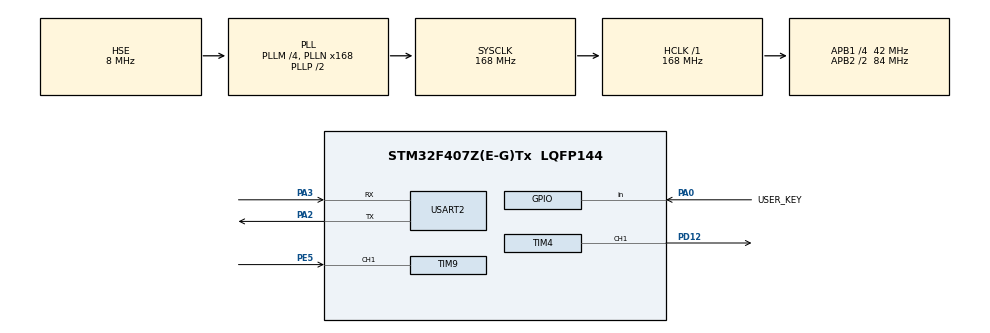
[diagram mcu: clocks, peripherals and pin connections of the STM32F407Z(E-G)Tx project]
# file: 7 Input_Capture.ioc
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Mcu.Family=STM32F4
Mcu.Name=STM32F407Z(E-G)Tx
Mcu.Package=LQFP144
NVIC.PriorityGroup=NVIC_PRIORITYGROUP_4
NVIC.TIM1_BRK_TIM9_IRQn=true\:1\:0\:true\:false\:true\:true\:true\:true
PA0-WKUP.GPIO_Label=USER_KEY
PA0-WKUP.Signal=GPIO_Input
PA13.Mode=Serial_Wire
PA13.Signal=SYS_JTMS-SWDIO
PA14.Mode=Serial_Wire
PA14.Signal=SYS_JTCK-SWCLK
PA2.Mode=Asynchronous
PA2.Signal=USART2_TX
PA3.Mode=Asynchronous
PA3.Signal=USART2_RX
PC14-OSC32_IN.Mode=LSE-External-Oscillator
PC14-OSC32_IN.Signal=RCC_OSC32_IN
PC15-OSC32_OUT.Mode=LSE-External-Oscillator
PC15-OSC32_OUT.Signal=RCC_OSC32_OUT
PD12.Signal=S_TIM4_CH1
PE5.Signal=S_TIM9_CH1
PH0-OSC_IN.Mode=HSE-External-Oscillator
PH0-OSC_IN.Signal=RCC_OSC_IN
PH1-OSC_OUT.Mode=HSE-External-Oscillator
PH1-OSC_OUT.Signal=RCC_OSC_OUT
ProjectManager.HeapSize=0x200
ProjectManager.StackSize=0x400
ProjectManager.TargetToolchain=MDK-ARM V5.32
RCC.48MHZClocksFreq_Value=84000000
RCC.AHBFreq_Value=168000000
RCC.APB1CLKDivider=RCC_HCLK_DIV4
RCC.APB1Freq_Value=42000000
RCC.APB1TimFreq_Value=84000000
RCC.APB2CLKDivider=RCC_HCLK_DIV2
RCC.APB2Freq_Value=84000000
RCC.APB2TimFreq_Value=168000000
RCC.CortexFreq_Value=168000000
RCC.HCLKFreq_Value=168000000
RCC.HSE_VALUE=8000000
RCC.HSI_VALUE=16000000
RCC.PLLM=4
RCC.PLLN=168
RCC.PLLSourceVirtual=RCC_PLLSOURCE_HSE
RCC.SYSCLKFreq_VALUE=168000000
RCC.SYSCLKSource=RCC_SYSCLKSOURCE_PLLCLK
RCC.VCOOutputFreq_Value=336000000
SH.S_TIM4_CH1.0=TIM4_CH1,PWM Generation1 CH1
SH.S_TIM9_CH1.0=TIM9_CH1,PWM_Input_1
TIM4.Channel-PWM\ Generation1\ CH1=TIM_CHANNEL_1
TIM4.Period=199
TIM4.Prescaler=8399
TIM4.Pulse-PWM\ Generation1\ CH1=50
TIM9.Period=49999
TIM9.Prescaler=16799
USART2.VirtualMode=VM_ASYNC
board=custom

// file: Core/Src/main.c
/* USER CODE BEGIN Header */
/**
  ******************************************************************************
  * @file           : main.c
  * @brief          : Main program body
  ******************************************************************************
  * @attention
  *
  * Copyright (c) 2024 STMicroelectronics.
  * All rights reserved.
  *
  * This software is licensed under terms that can be found in the LICENSE file
  * in the root directory of this software component.
  * If no LICENSE file comes with this software, it is provided AS-IS.
  *
  ******************************************************************************
  */
/* USER CODE END Header */
#include "main.h"
#include "tim.h"
#include "usart.h"
#include "gpio.h"

/* USER CODE BEGIN Includes */
#include "stdio.h"

#ifdef __GNUC__
#define PUTCHAR_PROTOTYPE int __io_putchar(int ch)
#else
#define PUTCHAR_PROTOTYPE int fputc(int ch, FILE *f)
#endif
PUTCHAR_PROTOTYPE
{
    HAL_UART_Transmit(&huart2, (uint8_t *)&ch, 1, HAL_MAX_DELAY);
    return ch;
}
/* USER CODE END Includes */

/* USER CODE BEGIN PV */
/*主函数外变量定义*/
uint16_t pulseWidth=0;
uint8_t dirInc=1;
/* USER CODE END PV */

void SystemClock_Config(void);

int main(void)
{

  /* MCU Configuration--------------------------------------------------------*/

  /* Reset of all peripherals, Initializes the Flash interface and the Systick. */
  HAL_Init();

  /* Configure the system clock */
  SystemClock_Config();

  /* Initialize all configured peripherals */
  MX_GPIO_Init();
  MX_TIM4_Init();
  MX_TIM9_Init();
  MX_USART2_UART_Init();
  /* USER CODE BEGIN 2 */
	/*主循环外启动代码*/
	HAL_TIM_Base_Start(&htim4);
	HAL_TIM_PWM_Start(&htim4, TIM_CHANNEL_1);
	HAL_TIM_Base_Start_IT(&htim9);
	HAL_TIM_IC_Start_IT(&htim9, TIM_CHANNEL_1);
	HAL_TIM_IC_Start_IT(&htim9, TIM_CHANNEL_2);
  /* USER CODE END 2 */

  /* Infinite loop */
  while (1)
  {

    /* USER CODE BEGIN 3 */
		/*主循环内代码*/
		if(HAL_GPIO_ReadPin(USER_KEY_GPIO_Port,USER_KEY_Pin) == GPIO_PIN_SET)
		{
			HAL_Delay(10);
			if(HAL_GPIO_ReadPin(USER_KEY_GPIO_Port,USER_KEY_Pin) == GPIO_PIN_SET)
			{
				if(dirInc == 1)
				{
					pulseWidth ++;
					if(pulseWidth >= 195)
					{
						pulseWidth = 195;
						dirInc = 0;
					}
				}
				else
				{
					pulseWidth --;
					if(pulseWidth <= 5)
					{
						pulseWidth = 5;
						dirInc = 1;
					}
				}
			}
			__HAL_TIM_SET_COMPARE(&htim4, TIM_CHANNEL_1, pulseWidth);
		}
  }
  /* USER CODE END 3 */
}

void SystemClock_Config(void)
{
  RCC_OscInitTypeDef RCC_OscInitStruct = {0};
  RCC_ClkInitTypeDef RCC_ClkInitStruct = {0};

  /** Configure the main internal regulator output voltage
  */
  __HAL_RCC_PWR_CLK_ENABLE();
  __HAL_PWR_VOLTAGESCALING_CONFIG(PWR_REGULATOR_VOLTAGE_SCALE1);

  /** Initializes the RCC Oscillators according to the specified parameters
  * in the RCC_OscInitTypeDef structure.
  */
  RCC_OscInitStruct.OscillatorType = RCC_OSCILLATORTYPE_HSE;
  RCC_OscInitStruct.HSEState = RCC_HSE_ON;
  RCC_OscInitStruct.PLL.PLLState = RCC_PLL_ON;
  RCC_OscInitStruct.PLL.PLLSource = RCC_PLLSOURCE_HSE;
  RCC_OscInitStruct.PLL.PLLM = 4;
  RCC_OscInitStruct.PLL.PLLN = 168;
  RCC_OscInitStruct.PLL.PLLP = RCC_PLLP_DIV2;
  RCC_OscInitStruct.PLL.PLLQ = 4;
  if (HAL_RCC_OscConfig(&RCC_OscInitStruct) != HAL_OK)
  {
    Error_Handler();
  }

  /** Initializes the CPU, AHB and APB buses clocks
  */
  RCC_ClkInitStruct.ClockType = RCC_CLOCKTYPE_HCLK|RCC_CLOCKTYPE_SYSCLK
                              |RCC_CLOCKTYPE_PCLK1|RCC_CLOCKTYPE_PCLK2;
  RCC_ClkInitStruct.SYSCLKSource = RCC_SYSCLKSOURCE_PLLCLK;
  RCC_ClkInitStruct.AHBCLKDivider = RCC_SYSCLK_DIV1;
  RCC_ClkInitStruct.APB1CLKDivider = RCC_HCLK_DIV4;
  RCC_ClkInitStruct.APB2CLKDivider = RCC_HCLK_DIV2;

  if (HAL_RCC_ClockConfig(&RCC_ClkInitStruct, FLASH_LATENCY_5) != HAL_OK)
  {
    Error_Handler();
  }
}

void Error_Handler(void)
{
  __disable_irq();
  while (1)
  {
  }
}
